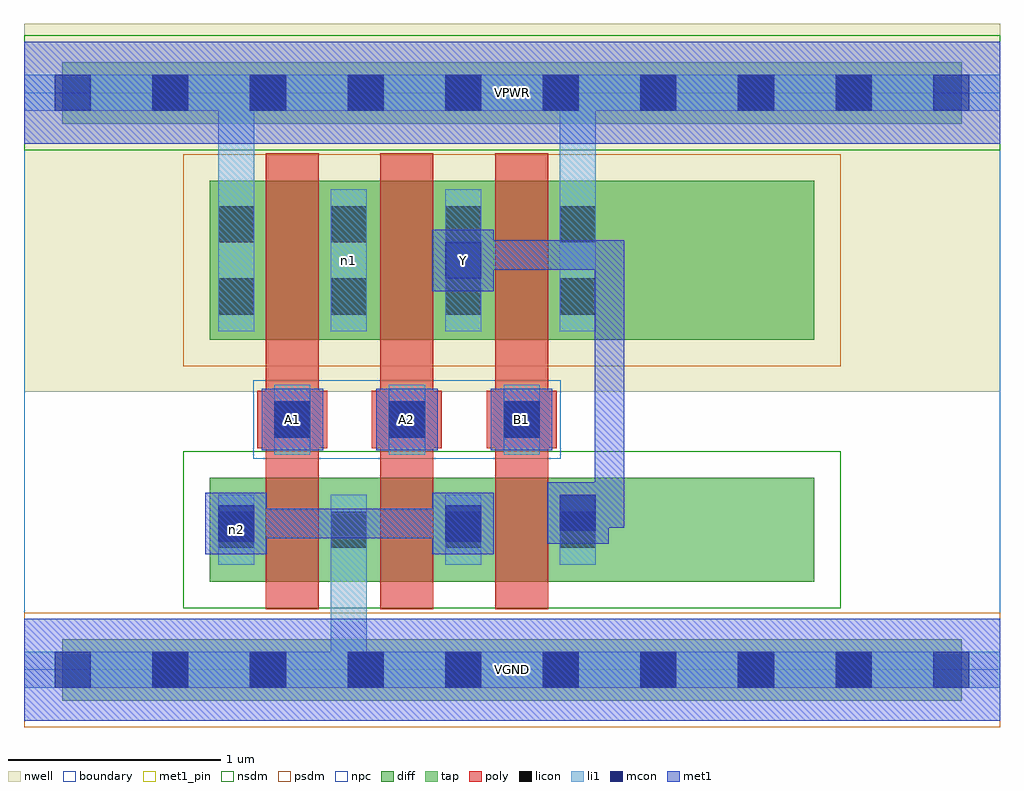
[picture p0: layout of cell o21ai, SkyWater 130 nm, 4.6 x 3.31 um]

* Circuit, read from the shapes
.subckt o21ai A1 A2 B1 VGND VPWR Y n1 n2
XM1 VGND A1 n2 VGND sky130_fd_pr__nfet_01v8 w=0.49 l=0.25
XM2 n2 A2 VGND VGND sky130_fd_pr__nfet_01v8 w=0.49 l=0.25
XM3 Y B1 n2 VGND sky130_fd_pr__nfet_01v8 w=0.49 l=0.25
XM4 n1 A1 VPWR VPWR sky130_fd_pr__pfet_01v8 w=0.75 l=0.25
XM5 Y A2 n1 VPWR sky130_fd_pr__pfet_01v8 w=0.75 l=0.25
XM6 VPWR B1 Y VPWR sky130_fd_pr__pfet_01v8 w=0.75 l=0.25
.ends

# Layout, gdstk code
import gdstk
lib = gdstk.Library(unit=1e-6, precision=1e-09)
def R(c, l, rs):  # rectangles x0, y0, x1, y1
    for r in rs: c.add(gdstk.rectangle(r[:2], r[2:], *l))
def A(c, l, x, y, w, h, nx, ny, dx, dy):  # array of equal rectangles
    R(c, l, [(x+i*dx, y+j*dy, x+i*dx+w, y+j*dy+h) for i in range(nx) for j in range(ny)])
nwell = (64, 20)
diff = (65, 20)
tap = (65, 44)
poly = (66, 20)
licon = (66, 44)
li1 = (67, 20)
mcon = (67, 44)
met1_pin = (68, 16)
met1 = (68, 20)
nsdm = (93, 44)
psdm = (94, 20)
npc = (95, 20)
boundary = (235, 4)

o21ai = lib.new_cell('o21ai')
R(o21ai, nwell, [(0,1.31,4.6,3.045)])
R(o21ai, diff, [(0.875,0.415,3.725,0.905), (0.875,1.555,3.725,2.305)])
R(o21ai, tap, [(0.18,-0.145,4.42,0.145), (0.18,2.575,4.42,2.865)])
A(o21ai, poly, 1.14, 0.285, 0.25, 2.15, 3, 1, 0.54, 0)
A(o21ai, poly, 1.1, 1.045, 0.33, 0.27, 3, 1, 0.54, 0)
A(o21ai, licon, 0.605, -0.085, 0.17, 0.17, 8, 2, 0.46, 2.72)
A(o21ai, licon, 1.445, 0.575, 0.17, 0.17, 3, 2, 0.54, 1.1)
A(o21ai, licon, 1.18, 1.095, 0.17, 0.17, 3, 1, 0.54, 0)
A(o21ai, licon, 1.445, 2.015, 0.17, 0.17, 3, 1, 0.54, 0)
R(o21ai, licon, [(0.915,0.575,1.085,0.745), (0.915,1.675,1.085,1.845), (0.915,2.015,1.085,2.185)])
A(o21ai, li1, 1.445, 0.495, 0.17, 0.33, 3, 1, 0.54, 0)
A(o21ai, li1, 1.18, 1.015, 0.17, 0.33, 3, 1, 0.54, 0)
A(o21ai, li1, 1.445, 1.595, 0.17, 0.67, 3, 1, 0.54, 0)
R(o21ai, li1, [(0,-0.085,4.6,0.085), (1.445,-0.085,1.615,0.825), (0.915,0.495,1.085,0.825), (0.915,1.595,1.085,2.265), (0.915,1.595,1.085,2.805), (2.525,1.595,2.695,2.805), (0,2.635,4.6,2.805)])
A(o21ai, mcon, 0.145, -0.085, 0.17, 0.17, 10, 2, 0.46, 2.72)
A(o21ai, mcon, 1.18, 1.095, 0.17, 0.17, 3, 1, 0.54, 0)
R(o21ai, mcon, [(0.915,0.605,1.085,0.775), (1.985,0.605,2.155,0.775), (2.525,0.655,2.695,0.825), (1.985,1.845,2.155,2.015)])
A(o21ai, met1_pin, 1.12, 1.035, 0.29, 0.29, 3, 1, 0.54, 0)
R(o21ai, met1_pin, [(0,-0.24,4.6,0.24), (1.925,1.785,2.215,2.075), (0,2.48,4.6,2.96)])
A(o21ai, met1, 1.12, 1.035, 0.29, 0.29, 3, 1, 0.54, 0)
R(o21ai, met1, [(0,-0.24,4.6,0.24), (0.855,0.545,1.145,0.835), (1.925,0.545,2.215,0.835), (2.465,0.595,2.755,0.885), (0.93,0.62,1.22,0.76), (1.08,0.62,2.14,0.76), (2.54,0.67,2.83,0.81), (2.69,0.67,2.83,0.99), (2.69,0.85,2.83,2.025), (1.925,1.785,2.215,2.075), (2,1.885,2.14,2.025), (2,1.885,2.83,2.025), (0,2.48,4.6,2.96)])
R(o21ai, nsdm, [(0.75,0.29,3.85,1.03), (0,2.45,4.6,2.99)])
R(o21ai, psdm, [(0,-0.27,4.6,0.27), (0.75,1.43,3.85,2.43)])
R(o21ai, npc, [(1.08,0.995,2.53,1.365)])
R(o21ai, boundary, [(0,0,4.6,2.72)])
o21ai.add(gdstk.Label('n2', (1,0.66), layer=67, texttype=5))
o21ai.add(gdstk.Label('n1', (1.53,1.93), layer=67, texttype=5))
o21ai.add(gdstk.Label('A1', (1.265,1.18), layer=68, texttype=5))
o21ai.add(gdstk.Label('A2', (1.805,1.18), layer=68, texttype=5))
o21ai.add(gdstk.Label('B1', (2.345,1.18), layer=68, texttype=5))
o21ai.add(gdstk.Label('Y', (2.07,1.93), layer=68, texttype=5))
o21ai.add(gdstk.Label('VPWR', (2.3,2.72), layer=68, texttype=5))
o21ai.add(gdstk.Label('VGND', (2.3,0), layer=68, texttype=5))
o21ai.add(gdstk.Label('A1', (1.265,1.18), layer=68, texttype=16))
o21ai.add(gdstk.Label('A2', (1.805,1.18), layer=68, texttype=16))
o21ai.add(gdstk.Label('B1', (2.345,1.18), layer=68, texttype=16))
o21ai.add(gdstk.Label('Y', (2.07,1.93), layer=68, texttype=16))
o21ai.add(gdstk.Label('VPWR', (2.3,2.72), layer=68, texttype=16))
o21ai.add(gdstk.Label('VGND', (2.3,0), layer=68, texttype=16))

lib.write_gds('o21ai.gds')
